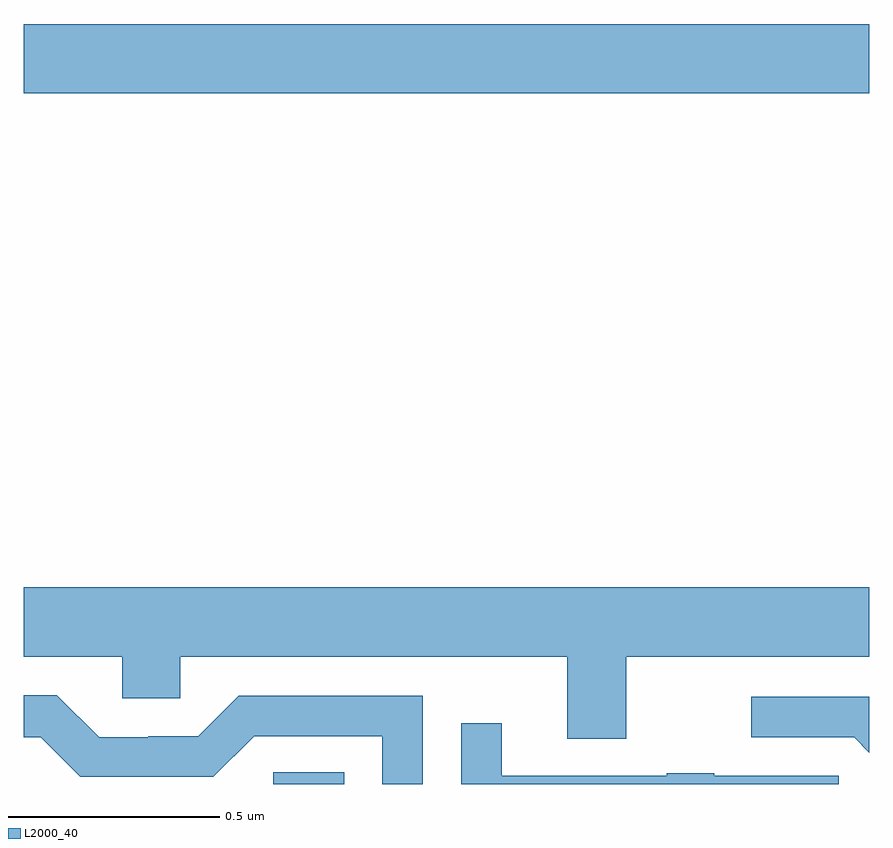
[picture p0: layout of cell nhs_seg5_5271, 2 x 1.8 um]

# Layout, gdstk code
import gdstk
lib = gdstk.Library(unit=1e-6, precision=1e-09)
def R(c, l, rs):  # rectangles x0, y0, x1, y1
    for r in rs: c.add(gdstk.rectangle(r[:2], r[2:], *l))
def P(c, l, *ps):  # polygons
    for p in ps: c.add(gdstk.Polygon(p, *l))
L2000_40 = (2000, 40)

nhs_seg5_5271 = lib.new_cell('nhs_seg5_5271')
R(nhs_seg5_5271, L2000_40, [(181.59,849.799,181.758,849.827), (181,851.432,183,851.596)])
P(nhs_seg5_5271, L2000_40, [(182.425,850.1),(183,850.1),(183,850.264),(181,850.264),(181,850.1),(181.233,850.1),(181.233,850.002),(181.371,850.002),(181.371,850.1),(182.285,850.1),(182.285,849.906),(182.425,849.906)],
  [(181.944,850.008),(181.509,850.008),(181.413,849.912),(181.295,849.912),(181.295,849.909),(181.179,849.909),(181.079,850.009),(181,850.009),(181,849.909),(181.041,849.909),(181.134,849.816),(181.449,849.816),(181.545,849.912),(181.848,849.912),(181.848,849.799),(181.944,849.799)],
  [(183,850.005),(182.721,850.005),(182.721,849.909),(182.964,849.909),(183,849.873)],
  [(182.928,849.819),(182.633,849.819),(182.633,849.824),(182.521,849.824),(182.521,849.819),(182.131,849.819),(182.131,849.943),(182.035,849.943),(182.035,849.799),(182.928,849.799)])

lib.write_gds('nhs_seg5_5271.gds')
